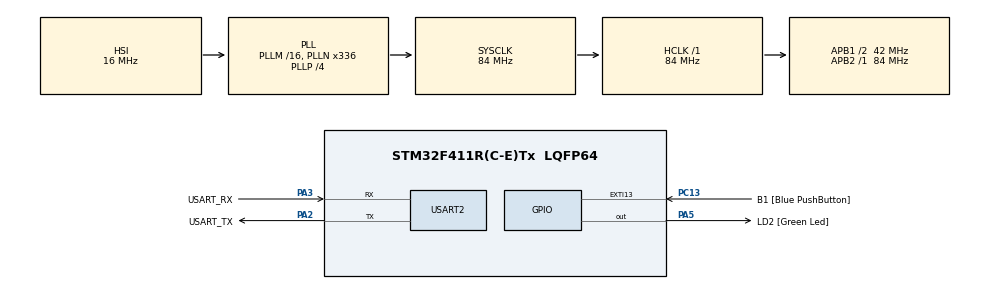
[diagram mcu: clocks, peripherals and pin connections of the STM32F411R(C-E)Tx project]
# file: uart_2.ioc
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Mcu.Family=STM32F4
Mcu.Name=STM32F411R(C-E)Tx
Mcu.Package=LQFP64
NVIC.PriorityGroup=NVIC_PRIORITYGROUP_0
PA13.GPIO_Label=TMS
PA13.Mode=Serial_Wire
PA13.Signal=SYS_JTMS-SWDIO
PA14.GPIO_Label=TCK
PA14.Mode=Serial_Wire
PA14.Signal=SYS_JTCK-SWCLK
PA2.GPIO_Label=USART_TX
PA2.Mode=Asynchronous
PA2.Signal=USART2_TX
PA3.GPIO_Label=USART_RX
PA3.Mode=Asynchronous
PA3.Signal=USART2_RX
PA5.GPIO_Label=LD2 [Green Led]
PA5.Signal=GPIO_Output
PB3.GPIO_Label=SWO
PB3.Signal=SYS_JTDO-SWO
PC13-ANTI_TAMP.GPIO_Label=B1 [Blue PushButton]
PC13-ANTI_TAMP.GPIO_ModeDefaultEXTI=GPIO_MODE_IT_FALLING
PC13-ANTI_TAMP.Signal=GPXTI13
PC14-OSC32_IN.Mode=LSE-External-Oscillator
PC14-OSC32_IN.Signal=RCC_OSC32_IN
PC15-OSC32_OUT.Mode=LSE-External-Oscillator
PC15-OSC32_OUT.Signal=RCC_OSC32_OUT
PH0\ -\ OSC_IN.Mode=HSE-External-Clock-Source
PH0\ -\ OSC_IN.Signal=RCC_OSC_IN
PH1\ -\ OSC_OUT.Mode=HSE-External-Clock-Source
PH1\ -\ OSC_OUT.Signal=RCC_OSC_OUT
ProjectManager.HeapSize=0x200
ProjectManager.StackSize=0x400
ProjectManager.TargetToolchain=STM32CubeIDE
RCC.48MHZClocksFreq_Value=84000000
RCC.AHBFreq_Value=84000000
RCC.APB1CLKDivider=RCC_HCLK_DIV2
RCC.APB1Freq_Value=42000000
RCC.APB1TimFreq_Value=84000000
RCC.APB2Freq_Value=84000000
RCC.APB2TimFreq_Value=84000000
RCC.CortexFreq_Value=84000000
RCC.FLatency-AdvancedSettings=FLASH_LATENCY_2
RCC.HCLKFreq_Value=84000000
RCC.HSE_VALUE=8000000
RCC.HSI_VALUE=16000000
RCC.PLLN=336
RCC.PLLP=RCC_PLLP_DIV4
RCC.SYSCLKFreq_VALUE=84000000
RCC.SYSCLKSource=RCC_SYSCLKSOURCE_PLLCLK
RCC.VCOOutputFreq_Value=336000000
USART2.VirtualMode=VM_ASYNC
board=NUCLEO-F411RE

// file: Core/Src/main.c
/* USER CODE BEGIN Header */
/**
  ******************************************************************************
  * @file           : main.c
  * @brief          : Main program body
  ******************************************************************************
  * @attention
  *
  * Copyright (c) 2023 STMicroelectronics.
  * All rights reserved.
  *
  * This software is licensed under terms that can be found in the LICENSE file
  * in the root directory of this software component.
  * If no LICENSE file comes with this software, it is provided AS-IS.
  *
  ******************************************************************************
  */
/* USER CODE END Header */
#include "main.h"

UART_HandleTypeDef huart2;

void SystemClock_Config(void);
static void MX_GPIO_Init(void);
static void MX_USART2_UART_Init(void);

int main(void)
{

  /* MCU Configuration--------------------------------------------------------*/

  /* Reset of all peripherals, Initializes the Flash interface and the Systick. */
  HAL_Init();

  /* Configure the system clock */
  SystemClock_Config();

  /* Initialize all configured peripherals */
  MX_GPIO_Init();
  MX_USART2_UART_Init();
  /* USER CODE BEGIN 2 */
  //DIt is geen optimaal gebruik van geheugen.
  uint8_t buffer[20] = "";
  const uint8_t on[20] = "on";
  const uint8_t off[20] = "off";
  const uint8_t nextLine[2] = "\r\n";
  uint32_t timeout = 50;

  uint8_t index = 0;
  char karakter = 0;
  /* USER CODE END 2 */

  /* Infinite loop */
  /* USER CODE BEGIN WHILE */
  while (1)
  {
	  if(karakter != 13){//Zolang er geen enter is geweest, blijven kijken.
	  		  HAL_UART_Receive(&huart2,&karakter,4,timeout);
	  		  if(karakter != 0 && karakter != 13 && index < sizeof(buffer)){ //Als er een input is geweest en het is geen enter en de index is klener dan de buffer, verhoog de counter.
	  			  buffer[index] = karakter;
	  			  index++;
	  			  karakter = 0;
	  		  }
	  	  }
	  	  else if (karakter == 13){ // Er is een enter geweest
	  		  HAL_UART_Transmit(&huart2,buffer,sizeof(buffer),timeout);
	  		  HAL_UART_Transmit(&huart2,nextLine,sizeof(nextLine),timeout);

	  		  int val = strcmp(buffer, on);

	  		  if(val == 0){
	  			  HAL_GPIO_WritePin(LD2_GPIO_Port, LD2_Pin, GPIO_PIN_SET);
	  		  }
	  		  if(strcmp(buffer, off) == 0)
	  		  {
	  			  HAL_GPIO_WritePin(LD2_GPIO_Port, LD2_Pin, GPIO_PIN_RESET);
	  		  }

	  		  // Maak buffer leeg.
	  		  for(uint8_t i = 0; i < sizeof(buffer); i++){
	  			  buffer[i] = 0;
	  		  	  }
	  		  index = 0;
	  		  karakter = 0;
	  	  }
	  	  HAL_Delay(10);
    /* USER CODE END WHILE */

  }
}

void SystemClock_Config(void)
{
  RCC_OscInitTypeDef RCC_OscInitStruct = {0};
  RCC_ClkInitTypeDef RCC_ClkInitStruct = {0};

  /** Configure the main internal regulator output voltage
  */
  __HAL_RCC_PWR_CLK_ENABLE();
  __HAL_PWR_VOLTAGESCALING_CONFIG(PWR_REGULATOR_VOLTAGE_SCALE1);

  /** Initializes the RCC Oscillators according to the specified parameters
  * in the RCC_OscInitTypeDef structure.
  */
  RCC_OscInitStruct.OscillatorType = RCC_OSCILLATORTYPE_HSI;
  RCC_OscInitStruct.HSIState = RCC_HSI_ON;
  RCC_OscInitStruct.HSICalibrationValue = RCC_HSICALIBRATION_DEFAULT;
  RCC_OscInitStruct.PLL.PLLState = RCC_PLL_ON;
  RCC_OscInitStruct.PLL.PLLSource = RCC_PLLSOURCE_HSI;
  RCC_OscInitStruct.PLL.PLLM = 16;
  RCC_OscInitStruct.PLL.PLLN = 336;
  RCC_OscInitStruct.PLL.PLLP = RCC_PLLP_DIV4;
  RCC_OscInitStruct.PLL.PLLQ = 4;
  if (HAL_RCC_OscConfig(&RCC_OscInitStruct) != HAL_OK)
  {
    Error_Handler();
  }

  /** Initializes the CPU, AHB and APB buses clocks
  */
  RCC_ClkInitStruct.ClockType = RCC_CLOCKTYPE_HCLK|RCC_CLOCKTYPE_SYSCLK
                              |RCC_CLOCKTYPE_PCLK1|RCC_CLOCKTYPE_PCLK2;
  RCC_ClkInitStruct.SYSCLKSource = RCC_SYSCLKSOURCE_PLLCLK;
  RCC_ClkInitStruct.AHBCLKDivider = RCC_SYSCLK_DIV1;
  RCC_ClkInitStruct.APB1CLKDivider = RCC_HCLK_DIV2;
  RCC_ClkInitStruct.APB2CLKDivider = RCC_HCLK_DIV1;

  if (HAL_RCC_ClockConfig(&RCC_ClkInitStruct, FLASH_LATENCY_2) != HAL_OK)
  {
    Error_Handler();
  }
}

static void MX_USART2_UART_Init(void)
{

  huart2.Instance = USART2;
  huart2.Init.BaudRate = 115200;
  huart2.Init.WordLength = UART_WORDLENGTH_8B;
  huart2.Init.StopBits = UART_STOPBITS_1;
  huart2.Init.Parity = UART_PARITY_NONE;
  huart2.Init.Mode = UART_MODE_TX_RX;
  huart2.Init.HwFlowCtl = UART_HWCONTROL_NONE;
  huart2.Init.OverSampling = UART_OVERSAMPLING_16;
  if (HAL_UART_Init(&huart2) != HAL_OK)
  {
    Error_Handler();
  }

}

static void MX_GPIO_Init(void)
{
  GPIO_InitTypeDef GPIO_InitStruct = {0};

  /* GPIO Ports Clock Enable */
  __HAL_RCC_GPIOC_CLK_ENABLE();
  __HAL_RCC_GPIOH_CLK_ENABLE();
  __HAL_RCC_GPIOA_CLK_ENABLE();
  __HAL_RCC_GPIOB_CLK_ENABLE();

  /*Configure GPIO pin Output Level */
  HAL_GPIO_WritePin(LD2_GPIO_Port, LD2_Pin, GPIO_PIN_RESET);

  /*Configure GPIO pin : B1_Pin */
  GPIO_InitStruct.Pin = B1_Pin;
  GPIO_InitStruct.Mode = GPIO_MODE_IT_FALLING;
  GPIO_InitStruct.Pull = GPIO_NOPULL;
  HAL_GPIO_Init(B1_GPIO_Port, &GPIO_InitStruct);

  /*Configure GPIO pin : LD2_Pin */
  GPIO_InitStruct.Pin = LD2_Pin;
  GPIO_InitStruct.Mode = GPIO_MODE_OUTPUT_PP;
  GPIO_InitStruct.Pull = GPIO_NOPULL;
  GPIO_InitStruct.Speed = GPIO_SPEED_FREQ_LOW;
  HAL_GPIO_Init(LD2_GPIO_Port, &GPIO_InitStruct);

}

void Error_Handler(void)
{
  __disable_irq();
  while (1)
  {
  }
}
